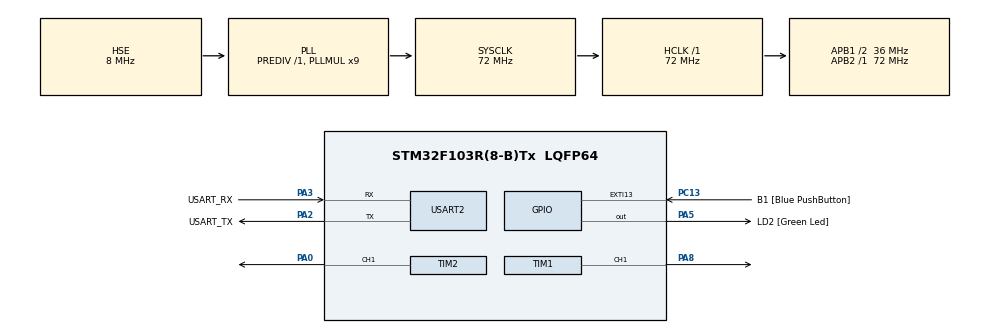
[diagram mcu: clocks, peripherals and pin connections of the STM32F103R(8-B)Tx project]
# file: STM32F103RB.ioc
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IWDG.Prescaler=IWDG_PRESCALER_32
Mcu.Family=STM32F1
Mcu.Name=STM32F103R(8-B)Tx
Mcu.Package=LQFP64
NVIC.EXTI15_10_IRQn=true\:0\:0\:false\:false\:true\:true
NVIC.PriorityGroup=NVIC_PRIORITYGROUP_4
NVIC.TIM2_IRQn=true\:0\:0\:false\:false\:true\:true
NVIC.USART2_IRQn=true\:0\:0\:false\:false\:true\:true
PA0-WKUP.Signal=S_TIM2_CH1_ETR
PA13.GPIO_Label=TMS
PA13.Mode=Serial_Wire
PA13.Signal=SYS_JTMS-SWDIO
PA14.GPIO_Label=TCK
PA14.Mode=Serial_Wire
PA14.Signal=SYS_JTCK-SWCLK
PA2.GPIO_Label=USART_TX
PA2.GPIO_Mode=GPIO_MODE_AF_PP
PA2.GPIO_PuPd=GPIO_NOPULL
PA2.GPIO_Speed=GPIO_SPEED_FREQ_LOW
PA2.Mode=Asynchronous
PA2.Signal=USART2_TX
PA3.GPIO_Label=USART_RX
PA3.GPIO_Mode=GPIO_MODE_AF_PP
PA3.GPIO_PuPd=GPIO_NOPULL
PA3.GPIO_Speed=GPIO_SPEED_FREQ_LOW
PA3.Mode=Asynchronous
PA3.Signal=USART2_RX
PA5.GPIO_Label=LD2 [Green Led]
PA5.GPIO_ModeDefaultOutputPP=GPIO_MODE_OUTPUT_PP
PA5.GPIO_PuPd=GPIO_NOPULL
PA5.GPIO_Speed=GPIO_SPEED_FREQ_LOW
PA5.Signal=GPIO_Output
PA8.Signal=S_TIM1_CH1
PC13-TAMPER-RTC.GPIO_Label=B1 [Blue PushButton]
PC13-TAMPER-RTC.GPIO_PuPd=GPIO_NOPULL
PC13-TAMPER-RTC.Signal=GPXTI13
PC14-OSC32_IN.Mode=LSE-External-Oscillator
PC14-OSC32_IN.Signal=RCC_OSC32_IN
PC15-OSC32_OUT.Mode=LSE-External-Oscillator
PC15-OSC32_OUT.Signal=RCC_OSC32_OUT
PD0-OSC_IN.Mode=HSE-External-Clock-Source
PD0-OSC_IN.Signal=RCC_OSC_IN
PD1-OSC_OUT.Mode=HSE-External-Clock-Source
PD1-OSC_OUT.Signal=RCC_OSC_OUT
ProjectManager.HeapSize=0x200
ProjectManager.StackSize=0x400
ProjectManager.TargetToolchain=MDK-ARM V5
RCC.AHBFreq_Value=72000000
RCC.APB1CLKDivider=RCC_HCLK_DIV2
RCC.APB1Freq_Value=36000000
RCC.APB1TimFreq_Value=72000000
RCC.APB2Freq_Value=72000000
RCC.APB2TimFreq_Value=72000000
RCC.HCLKFreq_Value=72000000
RCC.PLLMUL=RCC_PLL_MUL9
RCC.PLLSourceVirtual=RCC_PLLSOURCE_HSE
RCC.RTCClockSelection=RCC_RTCCLKSOURCE_LSE
RCC.SYSCLKFreq_VALUE=72000000
RCC.SYSCLKSource=RCC_SYSCLKSOURCE_PLLCLK
RCC.USBFreq_Value=72000000
SH.S_TIM1_CH1.0=TIM1_CH1,PWM Generation1 CH1
SH.S_TIM2_CH1_ETR.0=TIM2_CH1,PWM Generation1 CH1
TIM1.Channel-PWM\ Generation1\ CH1=TIM_CHANNEL_1
TIM1.Period=282
TIM1.Prescaler=256
TIM2.Channel-PWM\ Generation1\ CH1=TIM_CHANNEL_1
TIM2.Period=282
TIM2.Prescaler=256
USART2.VirtualMode=VM_ASYNC
VP_IWDG_VS_IWDG.Mode=IWDG_Activate
board=NUCLEO-F103RB

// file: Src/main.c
/**
  ******************************************************************************
  * @file           : main.c
  * @brief          : Main program body
  ******************************************************************************
  ** This notice applies to any and all portions of this file
  * that are not between comment pairs USER CODE BEGIN and
  * USER CODE END. Other portions of this file, whether
  * inserted by the user or by software development tools
  * are owned by their respective copyright owners.
  *
  * COPYRIGHT(c) 2018 STMicroelectronics
  *
  * Redistribution and use in source and binary forms, with or without modification,
  * are permitted provided that the following conditions are met:
  *   1. Redistributions of source code must retain the above copyright notice,
  *      this list of conditions and the following disclaimer.
  *   2. Redistributions in binary form must reproduce the above copyright notice,
  *      this list of conditions and the following disclaimer in the documentation
  *      and/or other materials provided with the distribution.
  *   3. Neither the name of STMicroelectronics nor the names of its contributors
  *      may be used to endorse or promote products derived from this software
  *      without specific prior written permission.
  *
  * THIS SOFTWARE IS PROVIDED BY THE COPYRIGHT HOLDERS AND CONTRIBUTORS "AS IS"
  * AND ANY EXPRESS OR IMPLIED WARRANTIES, INCLUDING, BUT NOT LIMITED TO, THE
  * IMPLIED WARRANTIES OF MERCHANTABILITY AND FITNESS FOR A PARTICULAR PURPOSE ARE
  * DISCLAIMED. IN NO EVENT SHALL THE COPYRIGHT HOLDER OR CONTRIBUTORS BE LIABLE
  * FOR ANY DIRECT, INDIRECT, INCIDENTAL, SPECIAL, EXEMPLARY, OR CONSEQUENTIAL
  * DAMAGES (INCLUDING, BUT NOT LIMITED TO, PROCUREMENT OF SUBSTITUTE GOODS OR
  * SERVICES; LOSS OF USE, DATA, OR PROFITS; OR BUSINESS INTERRUPTION) HOWEVER
  * CAUSED AND ON ANY THEORY OF LIABILITY, WHETHER IN CONTRACT, STRICT LIABILITY,
  * OR TORT (INCLUDING NEGLIGENCE OR OTHERWISE) ARISING IN ANY WAY OUT OF THE USE
  * OF THIS SOFTWARE, EVEN IF ADVISED OF THE POSSIBILITY OF SUCH DAMAGE.
  *
  ******************************************************************************
  */
#include "main.h"
#include "stm32f1xx_hal.h"

/* USER CODE BEGIN Includes */
#define GREEN_LED_PORT  GPIOA                //WRITTEN BY VINCENT
#define GREEN_LED_PIN   GPIO_PIN_5	         //WRITTEN BY VINCENT
#define BUTTON_PORT     GPIOC								 //WRITTEN BY VINCENT
#define BUTTON_PIN      GPIO_PIN_13					 //WRITTEN BY VINCENT
#include "stdbool.h"   //WRITTEN BY VINCENT => We want to use BOOLEAN TYPE

/* USER CODE END Includes */

IWDG_HandleTypeDef hiwdg;

TIM_HandleTypeDef htim1;
TIM_HandleTypeDef htim2;

UART_HandleTypeDef huart2;

/* USER CODE BEGIN PV */
/* Private variables ---------------------------------------------------------*/
bool flag = false;                           //WRITTEN BY VINCENT
bool ACTIVATE = false;                       //WRITTEN BY VINCENT

int timer_counter = 0;											 //WRITTEN BY VINCENT

uint8_t MESSAGE[3];                          //WRITTEN BY VINCENT , MESSAGE LENGTH LIMITED AS 3
uint8_t START[7] = "START\n\r"; 						 //WRITTEN BY VINCENT
uint8_t WTCDOG[25] = "WATCHDOG_TRIGGERED!\r\n";
/* USER CODE END PV */

void SystemClock_Config(void);
static void MX_GPIO_Init(void);
static void MX_USART2_UART_Init(void);
static void MX_TIM1_Init(void);
static void MX_TIM2_Init(void);
static void MX_IWDG_Init(void);

void HAL_TIM_MspPostInit(TIM_HandleTypeDef *htim);

/* USER CODE BEGIN PFP */
/* Private function prototypes -----------------------------------------------*/

/* USER CODE END PFP */

int main(void)
{

  /* MCU Configuration----------------------------------------------------------*/

  /* Reset of all peripherals, Initializes the Flash interface and the Systick. */
  HAL_Init();

  /* Configure the system clock */
  SystemClock_Config();

  /* Initialize all configured peripherals */
  MX_GPIO_Init();
  MX_USART2_UART_Init();
  MX_TIM1_Init();
  MX_TIM2_Init();
  MX_IWDG_Init();
  /* USER CODE BEGIN 2 */

  //*******************WRITTEN BY VINCENT********************************//
  /*
	  If you have some default setup, it is good to write here since this part
		is not included in the while(1) loop and all peripherals are initialized.
	*/
	HAL_TIM_Base_Start_IT(&htim2);   //TIMER INTERRUPT ENABLE
	HAL_GPIO_WritePin(GREEN_LED_PORT,GREEN_LED_PIN,GPIO_PIN_RESET); //Default ON BOARD LED IS OFF
	HAL_UART_Transmit(&huart2, START ,sizeof(START),100);           //SEND SOME TEXT SO YOU KNOW YOUR PROGRAM IS STARTED
  __HAL_UART_ENABLE_IT(&huart2,UART_IT_RXNE); //USART2 RX INTERRUPT ENABLE
 //*******************WRITTEN BY VINCENT********************************//

  /* USER CODE END 2 */

  /* Infinite loop */
  /* USER CODE BEGIN WHILE */
  while (1)
  {

  //*******************WRITTEN BY VINCENT********************************//
	HAL_UART_Receive_IT(&huart2, MESSAGE,sizeof(MESSAGE));
  if (flag == true)
	{
		HAL_GPIO_TogglePin(GREEN_LED_PORT,GREEN_LED_PIN);   //THE LED WILL CHANGE STATE EVERY SECOND
		flag = false; //RESET THE FLAG
	}
	if (ACTIVATE == true)
	{
		while(1)
		{
			HAL_UART_Transmit(&huart2,WTCDOG,sizeof(WTCDOG),500); //DISPLAY WATCH DOG TRIGGER MESSAGE
		}  //INPUT 'DOG' WILL TRIGGER INFINITY LOOP
	}
	HAL_IWDG_Refresh(&hiwdg);    //Refresh Watchdog

	/*ABOUT IWWDG

	Prescalar divider:   PR:
	/4									 0
	/8                   1
	/16								   2
	/32									 3
	/64									 4
	/128								 5
	/256								 6

	You must refresh watchdog in T seconds

	where T = ( 4 x Prescalar_divider x 2^PR) / (LSI clocker frequency)

	**LSI = Low speed internal = 40kHz
	*/

	//*******************WRITTEN BY VINCENT********************************//

  /* USER CODE END WHILE */

  }

}

void SystemClock_Config(void)
{

  RCC_OscInitTypeDef RCC_OscInitStruct;
  RCC_ClkInitTypeDef RCC_ClkInitStruct;

    /**Initializes the CPU, AHB and APB busses clocks
    */
  RCC_OscInitStruct.OscillatorType = RCC_OSCILLATORTYPE_LSI|RCC_OSCILLATORTYPE_HSE;
  RCC_OscInitStruct.HSEState = RCC_HSE_BYPASS;
  RCC_OscInitStruct.HSEPredivValue = RCC_HSE_PREDIV_DIV1;
  RCC_OscInitStruct.HSIState = RCC_HSI_ON;
  RCC_OscInitStruct.LSIState = RCC_LSI_ON;
  RCC_OscInitStruct.PLL.PLLState = RCC_PLL_ON;
  RCC_OscInitStruct.PLL.PLLSource = RCC_PLLSOURCE_HSE;
  RCC_OscInitStruct.PLL.PLLMUL = RCC_PLL_MUL9;
  if (HAL_RCC_OscConfig(&RCC_OscInitStruct) != HAL_OK)
  {
    _Error_Handler(__FILE__, __LINE__);
  }

    /**Initializes the CPU, AHB and APB busses clocks
    */
  RCC_ClkInitStruct.ClockType = RCC_CLOCKTYPE_HCLK|RCC_CLOCKTYPE_SYSCLK
                              |RCC_CLOCKTYPE_PCLK1|RCC_CLOCKTYPE_PCLK2;
  RCC_ClkInitStruct.SYSCLKSource = RCC_SYSCLKSOURCE_PLLCLK;
  RCC_ClkInitStruct.AHBCLKDivider = RCC_SYSCLK_DIV1;
  RCC_ClkInitStruct.APB1CLKDivider = RCC_HCLK_DIV2;
  RCC_ClkInitStruct.APB2CLKDivider = RCC_HCLK_DIV1;

  if (HAL_RCC_ClockConfig(&RCC_ClkInitStruct, FLASH_LATENCY_2) != HAL_OK)
  {
    _Error_Handler(__FILE__, __LINE__);
  }

    /**Configure the Systick interrupt time
    */
  HAL_SYSTICK_Config(HAL_RCC_GetHCLKFreq()/1000);

    /**Configure the Systick
    */
  HAL_SYSTICK_CLKSourceConfig(SYSTICK_CLKSOURCE_HCLK);

  /* SysTick_IRQn interrupt configuration */
  HAL_NVIC_SetPriority(SysTick_IRQn, 0, 0);
}

/* IWDG init function */
static void MX_IWDG_Init(void)
{

  hiwdg.Instance = IWDG;
  hiwdg.Init.Prescaler = IWDG_PRESCALER_32;
  hiwdg.Init.Reload = 4095;
  if (HAL_IWDG_Init(&hiwdg) != HAL_OK)
  {
    _Error_Handler(__FILE__, __LINE__);
  }

}

/* TIM1 init function */
static void MX_TIM1_Init(void)
{

  TIM_MasterConfigTypeDef sMasterConfig;
  TIM_OC_InitTypeDef sConfigOC;
  TIM_BreakDeadTimeConfigTypeDef sBreakDeadTimeConfig;

  htim1.Instance = TIM1;
  htim1.Init.Prescaler = 256;
  htim1.Init.CounterMode = TIM_COUNTERMODE_UP;
  htim1.Init.Period = 282;
  htim1.Init.ClockDivision = TIM_CLOCKDIVISION_DIV1;
  htim1.Init.RepetitionCounter = 0;
  htim1.Init.AutoReloadPreload = TIM_AUTORELOAD_PRELOAD_DISABLE;
  if (HAL_TIM_PWM_Init(&htim1) != HAL_OK)
  {
    _Error_Handler(__FILE__, __LINE__);
  }

  sMasterConfig.MasterOutputTrigger = TIM_TRGO_RESET;
  sMasterConfig.MasterSlaveMode = TIM_MASTERSLAVEMODE_DISABLE;
  if (HAL_TIMEx_MasterConfigSynchronization(&htim1, &sMasterConfig) != HAL_OK)
  {
    _Error_Handler(__FILE__, __LINE__);
  }

  sConfigOC.OCMode = TIM_OCMODE_PWM1;
  sConfigOC.Pulse = 0;
  sConfigOC.OCPolarity = TIM_OCPOLARITY_HIGH;
  sConfigOC.OCNPolarity = TIM_OCNPOLARITY_HIGH;
  sConfigOC.OCFastMode = TIM_OCFAST_DISABLE;
  sConfigOC.OCIdleState = TIM_OCIDLESTATE_RESET;
  sConfigOC.OCNIdleState = TIM_OCNIDLESTATE_RESET;
  if (HAL_TIM_PWM_ConfigChannel(&htim1, &sConfigOC, TIM_CHANNEL_1) != HAL_OK)
  {
    _Error_Handler(__FILE__, __LINE__);
  }

  sBreakDeadTimeConfig.OffStateRunMode = TIM_OSSR_DISABLE;
  sBreakDeadTimeConfig.OffStateIDLEMode = TIM_OSSI_DISABLE;
  sBreakDeadTimeConfig.LockLevel = TIM_LOCKLEVEL_OFF;
  sBreakDeadTimeConfig.DeadTime = 0;
  sBreakDeadTimeConfig.BreakState = TIM_BREAK_DISABLE;
  sBreakDeadTimeConfig.BreakPolarity = TIM_BREAKPOLARITY_HIGH;
  sBreakDeadTimeConfig.AutomaticOutput = TIM_AUTOMATICOUTPUT_DISABLE;
  if (HAL_TIMEx_ConfigBreakDeadTime(&htim1, &sBreakDeadTimeConfig) != HAL_OK)
  {
    _Error_Handler(__FILE__, __LINE__);
  }

  HAL_TIM_MspPostInit(&htim1);

}

/* TIM2 init function */
static void MX_TIM2_Init(void)
{

  TIM_MasterConfigTypeDef sMasterConfig;
  TIM_OC_InitTypeDef sConfigOC;

  htim2.Instance = TIM2;
  htim2.Init.Prescaler = 256;
  htim2.Init.CounterMode = TIM_COUNTERMODE_UP;
  htim2.Init.Period = 282;
  htim2.Init.ClockDivision = TIM_CLOCKDIVISION_DIV1;
  htim2.Init.AutoReloadPreload = TIM_AUTORELOAD_PRELOAD_DISABLE;
  if (HAL_TIM_PWM_Init(&htim2) != HAL_OK)
  {
    _Error_Handler(__FILE__, __LINE__);
  }

  sMasterConfig.MasterOutputTrigger = TIM_TRGO_RESET;
  sMasterConfig.MasterSlaveMode = TIM_MASTERSLAVEMODE_DISABLE;
  if (HAL_TIMEx_MasterConfigSynchronization(&htim2, &sMasterConfig) != HAL_OK)
  {
    _Error_Handler(__FILE__, __LINE__);
  }

  sConfigOC.OCMode = TIM_OCMODE_PWM1;
  sConfigOC.Pulse = 0;
  sConfigOC.OCPolarity = TIM_OCPOLARITY_HIGH;
  sConfigOC.OCFastMode = TIM_OCFAST_DISABLE;
  if (HAL_TIM_PWM_ConfigChannel(&htim2, &sConfigOC, TIM_CHANNEL_1) != HAL_OK)
  {
    _Error_Handler(__FILE__, __LINE__);
  }

  HAL_TIM_MspPostInit(&htim2);

}

/* USART2 init function */
static void MX_USART2_UART_Init(void)
{

  huart2.Instance = USART2;
  huart2.Init.BaudRate = 115200;
  huart2.Init.WordLength = UART_WORDLENGTH_8B;
  huart2.Init.StopBits = UART_STOPBITS_1;
  huart2.Init.Parity = UART_PARITY_NONE;
  huart2.Init.Mode = UART_MODE_TX_RX;
  huart2.Init.HwFlowCtl = UART_HWCONTROL_NONE;
  huart2.Init.OverSampling = UART_OVERSAMPLING_16;
  if (HAL_UART_Init(&huart2) != HAL_OK)
  {
    _Error_Handler(__FILE__, __LINE__);
  }

}

/** Configure pins as
        * Analog
        * Input
        * Output
        * EVENT_OUT
        * EXTI
*/
static void MX_GPIO_Init(void)
{

  GPIO_InitTypeDef GPIO_InitStruct;

  /* GPIO Ports Clock Enable */
  __HAL_RCC_GPIOC_CLK_ENABLE();
  __HAL_RCC_GPIOD_CLK_ENABLE();
  __HAL_RCC_GPIOA_CLK_ENABLE();

  /*Configure GPIO pin Output Level */
  HAL_GPIO_WritePin(LD2_GPIO_Port, LD2_Pin, GPIO_PIN_RESET);

  /*Configure GPIO pin : B1_Pin */
  GPIO_InitStruct.Pin = B1_Pin;
  GPIO_InitStruct.Mode = GPIO_MODE_IT_RISING;
  GPIO_InitStruct.Pull = GPIO_NOPULL;
  HAL_GPIO_Init(B1_GPIO_Port, &GPIO_InitStruct);

  /*Configure GPIO pin : LD2_Pin */
  GPIO_InitStruct.Pin = LD2_Pin;
  GPIO_InitStruct.Mode = GPIO_MODE_OUTPUT_PP;
  GPIO_InitStruct.Pull = GPIO_NOPULL;
  GPIO_InitStruct.Speed = GPIO_SPEED_FREQ_LOW;
  HAL_GPIO_Init(LD2_GPIO_Port, &GPIO_InitStruct);

  /* EXTI interrupt init*/
  HAL_NVIC_SetPriority(EXTI15_10_IRQn, 0, 0);
  HAL_NVIC_EnableIRQ(EXTI15_10_IRQn);

}

/* USER CODE BEGIN 4 */
void HAL_TIM_PeriodElapsedCallback(TIM_HandleTypeDef *htim)
{
	if(htim == &htim2)
	{
	  timer_counter++;  //  Interval = 0.001 second
		if (timer_counter == 1000)
		{
			flag = true;
			timer_counter = 0; //RESET timer_counter to recount again
		}

	}
}

void HAL_UART_RxCpltCallback(UART_HandleTypeDef *huart)
{
  UNUSED(huart);
	if (huart == &huart2)
	{
		if ((MESSAGE[0] == 'D')&& (MESSAGE[1] == 'O')&&(MESSAGE[2] == 'G'))
	  {
		  ACTIVATE = true;
	  }
  }
}
/* USER CODE END 4 */

void _Error_Handler(char *file, int line)
{
  while(1)
  {
  }
}

/************************ (C) COPYRIGHT STMicroelectronics *****END OF FILE****/
